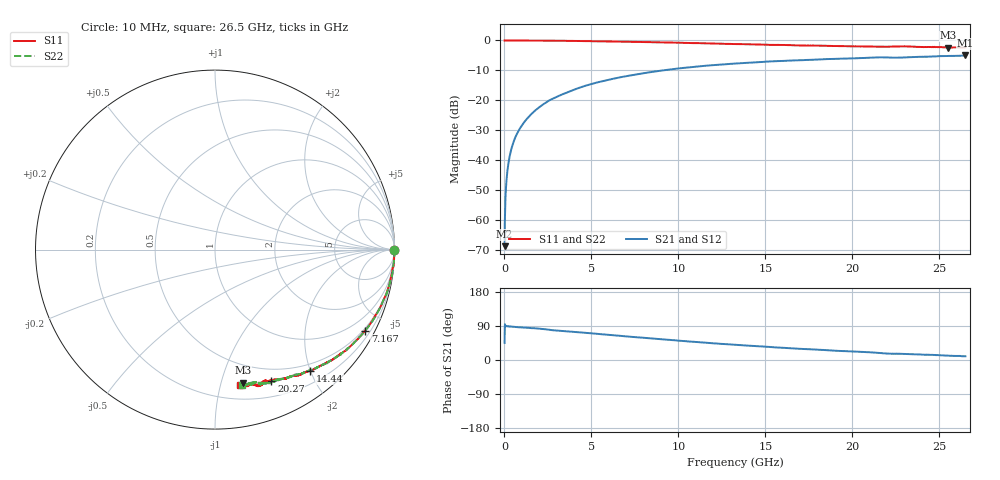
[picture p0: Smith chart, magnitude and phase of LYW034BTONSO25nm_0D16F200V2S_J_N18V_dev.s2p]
!Keysight Technologies,N5222B,MY61253708,A.15.00.15
!Date: Wednesday, June 19, 2024 08:47:23
!Correction: S11(C  2-Port  )
!S21(C  2-Port  )
!S12(C  2-Port  )
!S22(C  2-Port  )
!S2P File: Measurements: S11, S21, S12, S22:
# Hz S  RI  R 50
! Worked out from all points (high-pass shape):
!   2651 points, 10 MHz to 26.5 GHz, reference 50 ohm
!   highest |S21| = -5.03 dB at 26.5 GHz (marker M1); lowest = -68.9 dB at 10 MHz (marker M2)
!   |S21| within 3 dB of the highest: 12.58 GHz to end of sweep
!   lowest |S11| = -2.4 dB at 25.5 GHz (marker M3), VSWR 7.28, Z = 16.8 - j58.8 ohm
!   |S11| at or under -10 dB: nowhere
!   |S22| runs from -2.3 to 0.0 dB; largest |S21 - S12| = 0.008
!   S11 on the Smith chart (normalised r, x): 10 MHz: open; 7.167 GHz: 0.42, -3.91; 14.44 GHz: 0.39, -2.00; 20.27 GHz: 0.36, -1.46; 26.5 GHz: 0.31, -1.15
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1e7  0.9983 -0.00209  0.000253 0.000255  -0.000312 0.000766  0.9987 -0.00124
7.997358e7  0.9998 -0.00604  -2.36e-05 0.00304  6.74e-06 0.00306  0.9994 -0.00564
1.599434e8  0.9997 -0.0124  7.93e-05 0.00613  6.14e-05 0.00613  0.9995 -0.0116
1.999283e8  0.9999 -0.0148  0.000108 0.00767  0.000102 0.00765  0.9996 -0.0141
2.599057e8  0.9994 -0.0195  0.000233 0.00989  0.000229 0.00994  0.9993 -0.0185
3.598679e8  0.9992 -0.0269  0.0004 0.0137  0.000397 0.0138  0.9992 -0.0261
4.898189e8  0.9986 -0.0362  0.0007 0.0187  0.000707 0.0188  0.9987 -0.035
8.396868e8  0.9972 -0.061  0.00202 0.0317  0.002 0.0319  0.9975 -0.0605
1.449457e9  0.9886 -0.106  0.00491 0.0549  0.00495 0.055  0.9912 -0.1022
2.339121e9  0.9773 -0.1651  0.0135 0.0889  0.0136 0.0892  0.9788 -0.1651
3.198796e9  0.9631 -0.2237  0.0272 0.1176  0.0273 0.118  0.963 -0.2228
4.428332e9  0.93 -0.3013  0.0492 0.1589  0.0495 0.1596  0.932 -0.2981
7.167298e9  0.8362 -0.4516  0.1224 0.2262  0.1237 0.227  0.8391 -0.4495
8.846664e9  0.768 -0.5248  0.1747 0.2537  0.176 0.2544  0.7703 -0.5228
1.3255e10  0.5781 -0.652  0.3133 0.2649  0.3153 0.2648  0.5824 -0.6507
1.444455e10  0.5316 -0.675  0.3445 0.2571  0.3462 0.2567  0.5344 -0.6703
1.767333e10  0.4013 -0.7146  0.4192 0.2225  0.4225 0.2211  0.4135 -0.7128
2.027235e10  0.3147 -0.7317  0.4677 0.1886  0.47 0.1864  0.3337 -0.7338
2.209166e10  0.2704 -0.7341  0.496 0.1499  0.4973 0.1478  0.2659 -0.7414
2.308129e10  0.2411 -0.7614  0.5005 0.1443  0.5011 0.1443  0.2429 -0.743
2.550038e10  0.1568 -0.7419  0.5389 0.1071  0.5404 0.1082  0.1779 -0.7485
2.65e10  0.1394 -0.7566  0.5521 0.0957  0.5509 0.0929  0.1524 -0.7571
